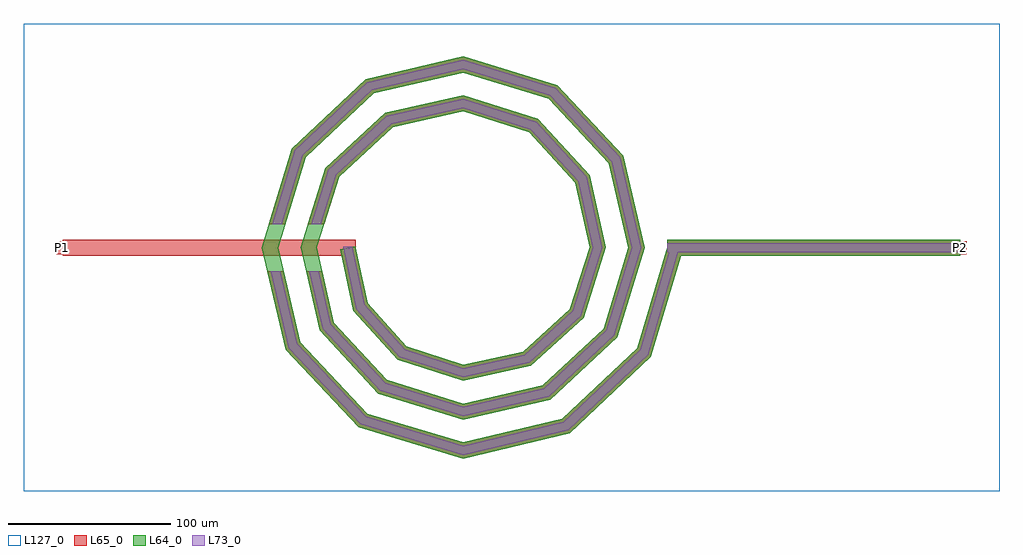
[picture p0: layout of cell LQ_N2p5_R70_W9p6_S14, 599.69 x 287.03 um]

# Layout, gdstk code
import gdstk
lib = gdstk.Library(unit=1e-6, precision=1e-09)
def R(c, l, rs):  # rectangles x0, y0, x1, y1
    for r in rs: c.add(gdstk.rectangle(r[:2], r[2:], *l))
def P(c, l, *ps):  # polygons
    for p in ps: c.add(gdstk.Polygon(p, *l))
L64_0 = (64, 0)
L65_0 = (65, 0)
L73_0 = (73, 0)
L127_0 = (127, 0)

lq_n2p5_r70_w9p6_s14 = lib.new_cell('LQ_N2p5_R70_W9p6_S14')
R(lq_n2p5_r70_w9p6_s14, L64_0, [(125.681,-4.8,305.681,4.8)])
P(lq_n2p5_r70_w9p6_s14, L64_0, [(-58.615,-34.134),(-34.696,-60.588),(0.24,-71.807),(37.101,-63.792),(65.746,-37.695),(77.774,0.223),(68.968,40.07),(40.692,70.906),(0.208,83.741),(-43.041,74.143),(-76.067,43.688),(-89.709,0.195),(-79.317,-46.014),(-46.682,-81.229),(0.183,-95.676),(48.988,-84.491),(86.391,-49.675),(101.644,0.173),(89.664,51.963),(52.667,91.555),(0.164,107.611),(-54.94,94.836),(-96.718,55.658),(-113.579,0.156),(-100.008,-57.916),(-58.648,-101.883),(0.148,-119.546),(60.894,-105.18),(107.047,-61.638),(125.882,1.375),(135.08,-1.375),(115.508,-66.854),(65.609,-113.93),(0.148,-129.481),(-63.876,-110.336),(-108.765,-62.619),(-123.513,0.156),(-105.164,60.899),(-59.628,103.6),(0.164,117.545),(57.922,99.991),(98.436,56.636),(111.577,0.173),(94.818,-54.946),(53.644,-93.273),(0.183,-105.609),(-51.972,-89.644),(-88.11,-50.65),(-99.641,0.195),(-84.469,48.998),(-47.655,82.947),(0.208,93.673),(46.026,79.294),(77.786,44.659),(87.704,0.223),(74.117,-43.055),(41.66,-72.625),(0.24,-81.736),(-40.087,-68.939),(-67.466,-38.659),(-75.498,-1.001),(-66.109,1.001)])
R(lq_n2p5_r70_w9p6_s14, L65_0, [(-246.004,-4.8,-66.004,4.8), (125.681,-4.8,305.681,4.8), (-250.004,-4,-242.004,4), (301.681,-4,309.681,4)])
P(lq_n2p5_r70_w9p6_s14, L65_0, [(-100.008,-57.916),(-58.648,-101.883),(0.148,-119.546),(60.894,-105.18),(107.047,-61.638),(125.882,1.375),(135.08,-1.375),(115.508,-66.854),(65.609,-113.93),(0.148,-129.481),(-63.876,-110.336),(-108.765,-62.619),(-120.093,-14.4),(-110.232,-14.4)],
  [(-79.317,-46.014),(-46.682,-81.229),(0.183,-95.676),(48.988,-84.491),(86.391,-49.675),(101.644,0.173),(89.664,51.963),(52.667,91.555),(0.164,107.611),(-54.94,94.836),(-96.718,55.658),(-109.182,14.4),(-119.21,14.4),(-105.164,60.899),(-59.628,103.6),(0.164,117.545),(57.922,99.991),(98.436,56.636),(111.577,0.173),(94.818,-54.947),(53.644,-93.273),(0.183,-105.609),(-51.972,-89.644),(-88.11,-50.65),(-96.331,-14.4),(-86.487,-14.4)],
  [(-34.696,-60.588),(0.24,-71.807),(37.101,-63.792),(65.746,-37.695),(77.774,0.223),(68.968,40.07),(40.692,70.906),(0.208,83.742),(-43.041,74.143),(-76.067,43.688),(-85.172,14.4),(-95.225,14.4),(-84.469,48.998),(-47.655,82.947),(0.208,93.673),(46.026,79.294),(77.786,44.659),(87.704,0.223),(74.117,-43.055),(41.66,-72.625),(0.24,-81.736),(-40.087,-68.939),(-67.466,-38.659),(-75.498,-1.001),(-66.109,1.001),(-58.615,-34.134)])
R(lq_n2p5_r70_w9p6_s14, L73_0, [(125.681,-2.8,305.681,2.8)])
P(lq_n2p5_r70_w9p6_s14, L73_0, [(-101.832,-58.896),(-59.737,-103.644),(0.086,-121.616),(61.876,-107.003),(108.81,-62.725),(127.799,0.802),(133.164,0.802),(113.745,-65.767),(64.627,-112.107),(0.086,-127.411),(-62.787,-108.575),(-106.941,-61.639),(-118.039,-14.4),(-112.286,-14.4)],
  [(-81.149,-46.98),(-47.784,-82.982),(0.107,-97.746),(49.958,-86.32),(88.147,-50.773),(103.713,0.101),(91.491,52.937),(53.762,93.312),(0.096,109.681),(-55.916,96.662),(-98.478,56.75),(-111.271,14.4),(-117.121,14.4),(-103.404,59.807),(-58.651,101.775),(0.096,115.476),(56.827,98.233),(96.609,55.663),(109.508,0.101),(93.062,-53.848),(52.674,-91.443),(0.107,-103.54),(-50.87,-87.891),(-86.278,-49.684),(-94.28,-14.4),(-88.538,-14.4)],
  [(-35.819,-62.328),(0.14,-73.876),(38.051,-65.633),(67.49,-38.812),(79.843,0.13),(70.805,41.026),(41.803,72.653),(0.121,85.811),(-44.003,75.977),(-77.817,44.794),(-87.266,14.4),(-93.13,14.4),(-82.719,47.892),(-46.694,81.113),(0.121,91.604),(44.915,77.546),(75.949,43.703),(85.636,0.13),(72.373,-41.938),(40.71,-70.785),(0.14,-79.668),(-38.964,-67.199),(-65.622,-37.716),(-73.542,0.584),(-68.065,0.584),(-60.459,-35.077)])
R(lq_n2p5_r70_w9p6_s14, L127_0, [(-270.004,-149.481,329.681,137.545)])
lq_n2p5_r70_w9p6_s14.add(gdstk.Label('P2', (305.681,0), layer=65, texttype=0))
lq_n2p5_r70_w9p6_s14.add(gdstk.Label('P1', (-246.004,0), layer=65, texttype=0))
lq_n2p5_r70_w9p6_s14.add(gdstk.Label('P2', (309.681,0), layer=145, texttype=0))
lq_n2p5_r70_w9p6_s14.add(gdstk.Label('P1', (-250.004,0), layer=145, texttype=0))

lib.write_gds('LQ_N2p5_R70_W9p6_S14.gds')
